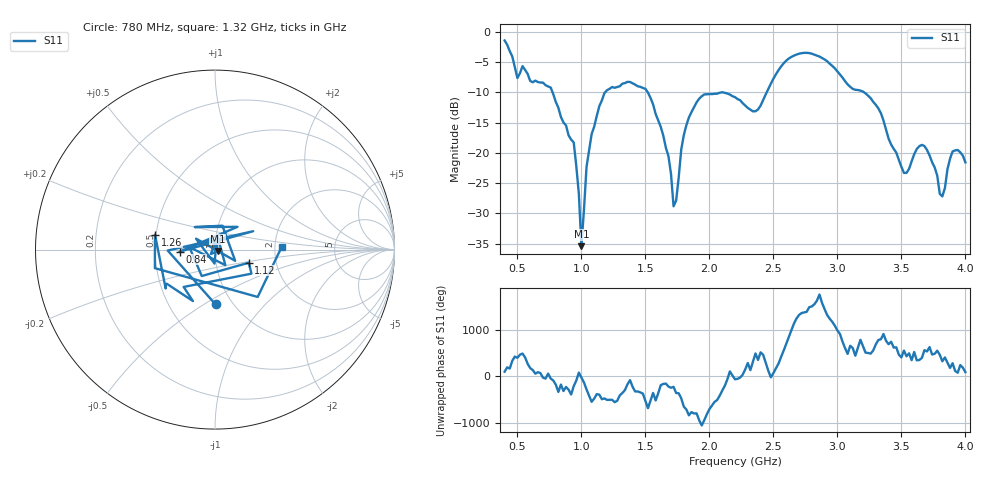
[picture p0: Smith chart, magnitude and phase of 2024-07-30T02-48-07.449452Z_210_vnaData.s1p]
!Created with skrf (http://scikit-rf.org).
# Hz S RI R 50.0
!freq ReS11 ImS11
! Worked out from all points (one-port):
!   181 points, 400 MHz to 4 GHz, reference 50 ohm
!   lowest |S11| = -35.4 dB at 1 GHz (marker M1), VSWR 1.03, Z = 51.5 - j0.794 ohm
!   |S11| at or under -10 dB: 774.6 MHz to 1.185 GHz (410.2 MHz wide, 41.9 % of centre); 1.519 GHz to 2.096 GHz (576.9 MHz wide, 31.9 % of centre); 3.208 GHz to end of sweep (the widest 3 of 4)
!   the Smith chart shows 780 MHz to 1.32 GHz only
!   S11 on the Smith chart (normalised r, x): 780 MHz: 0.83, -0.56; 840 MHz: 0.67, -0.02; 1.12 GHz: 1.44, -0.22; 1.26 GHz: 0.49, +0.09; 1.32 GHz: 2.18, +0.09
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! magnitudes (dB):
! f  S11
! 400 MHz  -1.4
! 500 MHz  -7.6
! 780 MHz  -10.3
! 840 MHz  -14.1
! 860 MHz  -15.0
! 940 MHz  -18.3
! 980 MHz  -26.8
! 1 GHz  -35.4
! 1.04 GHz  -22.3
! 1.12 GHz  -13.9
! 1.26 GHz  -9.2
! 1.3 GHz  -9.0
! 1.32 GHz  -8.6
! 1.54 GHz  -10.9
! 1.68 GHz  -20.5
! 1.72 GHz  -28.8
! 1.76 GHz  -24.1
! 1.8 GHz  -17.1
! 1.9 GHz  -11.6
! 2.2 GHz  -10.8
! 2.36 GHz  -13.1
! 2.66 GHz  -3.9
! 3.1 GHz  -9.1
! 3.56 GHz  -22.6
! 3.68 GHz  -18.9
! 3.82 GHz  -27.2
! 3.9 GHz  -19.8
! 4 GHz  -21.6
